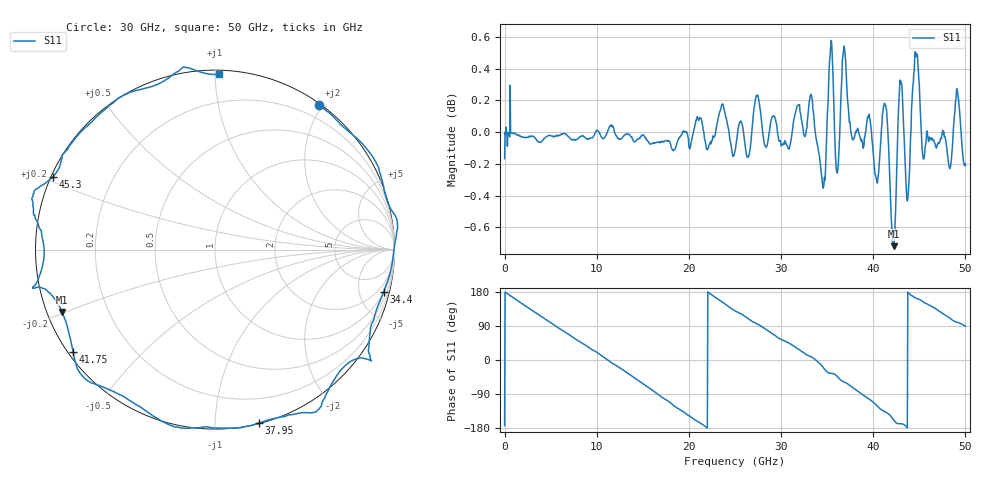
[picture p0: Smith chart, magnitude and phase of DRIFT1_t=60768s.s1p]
!Created with skrf (http://scikit-rf.org).
# Hz S RI R 50.0
!freq ReS11 ImS11
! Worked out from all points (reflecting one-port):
!   1001 points, 300 kHz to 50 GHz, reference 50 ohm
!   lowest |S11| = -0.7 dB at 42.2 GHz (marker M1), VSWR 24.14, Z = 2.15 - j9.78 ohm
!   phase of S11 starts at -173 deg and turns -818 deg over the sweep
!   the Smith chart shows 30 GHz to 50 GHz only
!   S11 on the Smith chart (normalised r, x): 30 GHz: 0.02, +1.96; 34.4 GHz: 1.05, -7.99; 37.95 GHz: 0.01, -1.28; 41.75 GHz: 0.01, -0.32; 45.3 GHz: 0.01, +0.22; 50 GHz: 0.02, +1.02
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300000  -0.9735 -0.1204
1.450291e9  -0.9126 0.4041
3.25028e9  -0.5928 0.8005
6.250262e9  0.1992 0.9784
9.500243e9  0.8888 0.4491
1.250022e10  0.931 -0.3507
1.580021e10  0.2418 -0.9614
1.74002e10  -0.2221 -0.9684
1.875019e10  -0.5981 -0.7928
2.160017e10  -0.9918 -0.1331
2.345016e10  -0.9298 0.4121
2.500015e10  -0.629 0.7603
2.745014e10  -0.0847 1.024
3.000012e10  0.5796 0.8028
3.125011e10  0.7825 0.6262
3.31501e10  1.012 0.1729
3.440009e10  0.9397 -0.2347
3.520009e10  0.8641 -0.5877
3.750008e10  0.3785 -0.932
3.795007e10  0.2439 -0.9656
3.960006e10  -0.2379 -0.9822
4.175005e10  -0.7907 -0.5704
4.220005e10  -0.8524 -0.3474
4.290004e10  -1.017 -0.2125
4.375004e10  -0.9527 0.0124
4.530003e10  -0.9011 0.4069
4.765001e10  -0.5115 0.8597
5e10  0.0198 0.977
